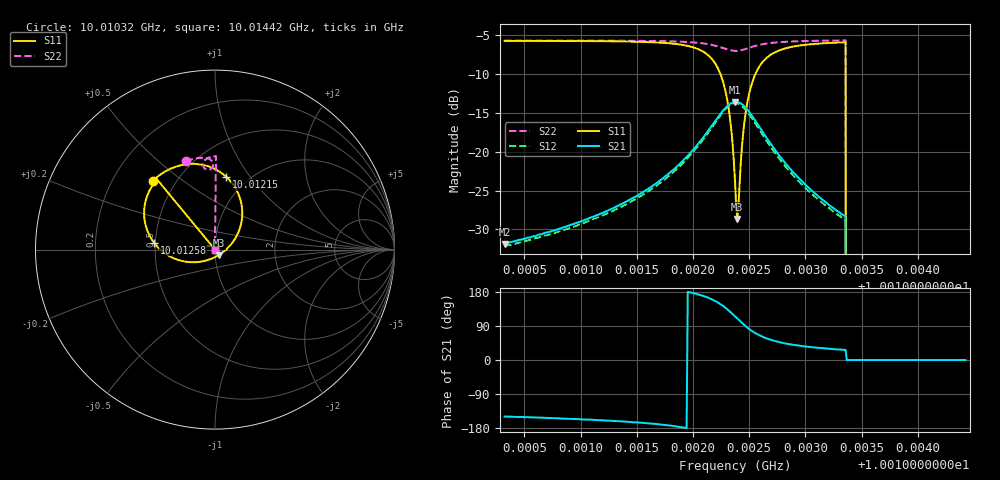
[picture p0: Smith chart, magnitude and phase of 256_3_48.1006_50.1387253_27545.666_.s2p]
#  HZ  S  RI  R  50.00
! Rohde & Schwarz Vector Network Analyzer
! Rohde-Schwarz,ZNB20-2Port,1311601062101988,3.16
! Created: UTC 12/23/2023, 4:00:18 AM
! freq[Hz]  re:S11  im:S11  re:S21  im:S21  re:S12  im:S12  re:S22  im:S22
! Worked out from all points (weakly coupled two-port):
!   401 points, 10.01032 GHz to 10.01442 GHz, reference 50 ohm
!   highest |S21| = -13.57 dB at 10.01237 GHz (marker M1); lowest = -31.9 dB at 10.01032 GHz (marker M2)
!   lowest |S11| = -28.6 dB at 10.01239 GHz (marker M3), VSWR 1.08, Z = 52 - j3.21 ohm
!   |S11| at or under -10 dB: 10.01224 GHz to 10.01256 GHz (310.7 kHz wide, 0.0031 % of centre); 10.01336 GHz to end of sweep
!   |S22| runs from - to -5.7 dB; largest |S21 - S12| = 0.01
!   S11 on the Smith chart (normalised r, x): 10.01032 GHz: 0.37, +0.39; 10.01215 GHz: 0.80, +0.78; 10.01258 GHz: 0.49, +0.04; 10.01442 GHz: 1.00, +0.00
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1.0010325e10  -0.3477 0.383  -0.022 -0.013  -0.0204 -0.0138  -0.1619 0.4932
1.0011011e10  -0.2912 0.4266  -0.0329 -0.0142  -0.0309 -0.0152  -0.1165 0.5063
1.0011698e10  -0.1791 0.4725  -0.0636 -0.0116  -0.0605 -0.0145  -0.0634 0.5122
1.0011985e10  -0.0614 0.4706  -0.0998 0.00371  -0.0966 -0.00144  -0.0345 0.5065
1.0012148e10  0.0629 0.4052  -0.1345 0.0416  -0.1329 0.0334  -0.0154 0.4912
1.001223e10  0.1313 0.3075  -0.1472 0.0852  -0.1482 0.0754  -0.0101 0.4749
1.0012292e10  0.1516 0.1868  -0.1414 0.1309  -0.1443 0.122  -0.0134 0.4595
1.0012333e10  0.1275 0.0897  -0.1214 0.1644  -0.126 0.156  -0.0214 0.45
1.0012353e10  0.1008 0.0436  -0.1065 0.1785  -0.1112 0.1709  -0.0269 0.4469
1.0012374e10  0.0647 0.00262  -0.0888 0.1899  -0.0934 0.1827  -0.0334 0.4449
1.0012394e10  0.0204 -0.0309  -0.0692 0.1976  -0.074 0.1908  -0.0401 0.4445
1.0012405e10  -0.00562 -0.0448  -0.0585 0.1999  -0.0638 0.1931  -0.0434 0.4451
1.0012446e10  -0.1085 -0.0702  -0.0181 0.199  -0.0224 0.1928  -0.0551 0.4505
1.0012476e10  -0.183 -0.0635  0.00939 0.1893  0.00379 0.1835  -0.0613 0.4572
1.0012517e10  -0.263 -0.0311  0.0363 0.1698  0.0299 0.1645  -0.0657 0.4673
1.0012579e10  -0.3406 0.0394  0.0579 0.1373  0.0518 0.133  -0.0656 0.4814
1.0012784e10  -0.3941 0.2261  0.0634 0.0658  0.0578 0.0651  -0.0463 0.507
1.001306e10  -0.3611 0.3366  0.0465 0.031  0.0429 0.0314  -0.0194 0.5176
1.0013337e10  -0.3255 0.3883  0.0348 0.0178  0.0323 0.0184  0.00353 0.5208
1.0013388e10  0 0  0 0  0 0  0 0
1.0013747e10  0 0  0 0  0 0  0 0
1.0014423e10  0 0  0 0  0 0  0 0
